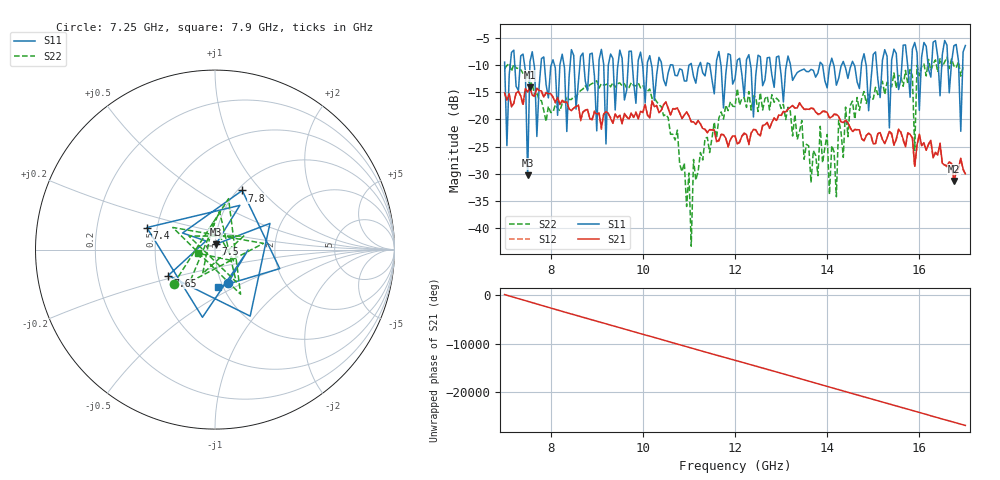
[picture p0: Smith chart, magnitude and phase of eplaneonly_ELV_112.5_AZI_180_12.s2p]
! 10/29/2026 5:12:39 PM
! C:\ANRITSUVNA\TEMP\TEMP.S2P
! CHANNEL.1
! TR.MEASUREMENT
! RAW.DATA
# HZ S RI R 50.0
! FREQ.HZ  S11RE  S11IM  S21RE  S21IM  S12RE  S12IM  S22RE  S22IM
!; PortSelection: Port_12
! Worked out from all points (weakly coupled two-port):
!   201 points, 7 GHz to 17 GHz, reference 50 ohm
!   highest |S21| = -14.10 dB at 7.55 GHz (marker M1); lowest = -31.3 dB at 16.75 GHz (marker M2)
!   lowest |S11| = -30.3 dB at 7.5 GHz (marker M3), VSWR 1.06, Z = 50.4 + j3.04 ohm
!   |S11| at or under -10 dB: 10.65 GHz to 11 GHz (353.9 MHz wide, 3.27 % of centre); 13.2 GHz to 13.84 GHz (633.6 MHz wide, 4.69 % of centre); 14.14 GHz to 14.31 GHz (169.8 MHz wide, 1.19 % of centre) (the widest 3 of 43)
!   |S22| runs from -43.3 to -8.6 dB; largest |S21 - S12| = 0.064
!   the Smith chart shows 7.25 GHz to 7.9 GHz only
!   S11 on the Smith chart (normalised r, x): 7.25 GHz: 1.07, -0.42; 7.4 GHz: 0.44, +0.13; 7.5 GHz: 1.01, +0.06; 7.65 GHz: 0.57, -0.18; 7.8 GHz: 1.05, +0.80; 7.9 GHz: 0.94, -0.41
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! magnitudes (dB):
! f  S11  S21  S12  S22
! 7 GHz  -9.5  -15.1  -15.2  -10.7
! 7.05 GHz  -24.8  -16.5  -16.5  -10.1
! 7.25 GHz  -13.9  -15.1  -15.1  -10.5
! 7.4 GHz  -8.0  -17.2  -17.5  -11.5
! 7.5 GHz  -30.3  -14.9  -15.0  -12.8
! 7.55 GHz  -9.4  -14.1  -14.2  -13.4
! 7.65 GHz  -10.5  -15.7  -15.8  -15.7
! 7.8 GHz  -8.8  -14.8  -15.0  -16.6
! 7.9 GHz  -13.6  -15.0  -15.2  -20.4
! 8.7 GHz  -7.8  -18.6  -18.7  -14.4
! 9.1 GHz  -7.1  -21.5  -21.8  -13.4
! 9.2 GHz  -24.5  -18.6  -18.6  -13.6
! 9.3 GHz  -8.0  -19.8  -19.7  -14.0
! 10.35 GHz  -8.6  -18.8  -18.7  -17.3
! 11.05 GHz  -9.7  -20.4  -20.4  -43.3
! 11.1 GHz  -12.1  -20.4  -20.5  -27.4
! 12 GHz  -12.5  -23.1  -23.0  -17.6
! 13.7 GHz  -11.0  -18.0  -18.1  -25.7
! 15.35 GHz  -21.6  -22.2  -22.2  -13.6
! 16.75 GHz  -6.5  -31.3  -31.5  -10.2
! 16.9 GHz  -22.2  -27.2  -27.2  -12.0
! 17 GHz  -6.4  -30.0  -30.0  -10.4
